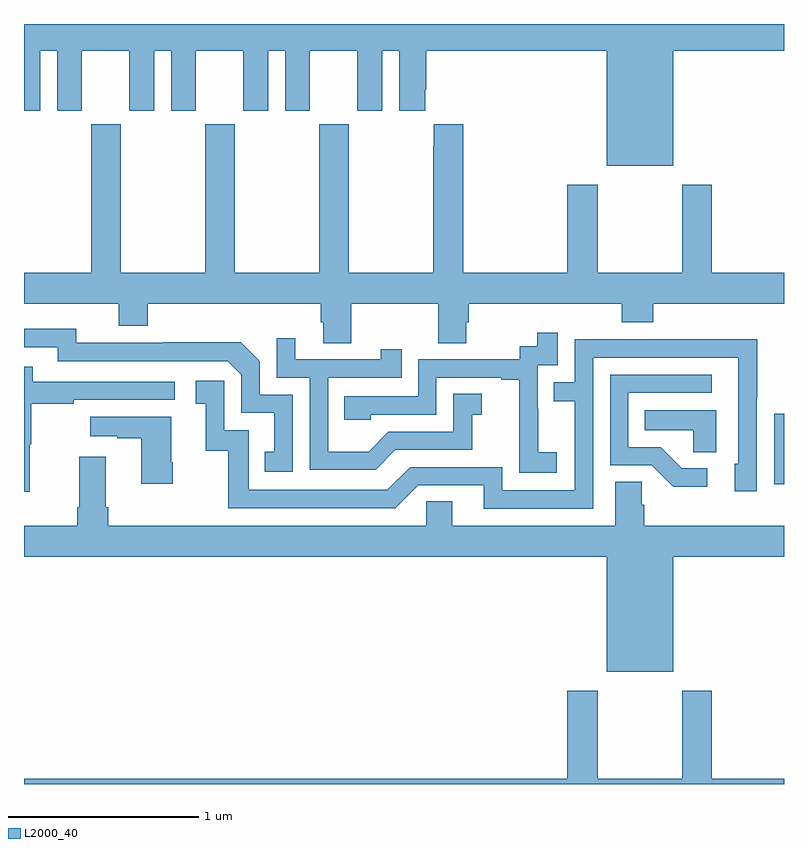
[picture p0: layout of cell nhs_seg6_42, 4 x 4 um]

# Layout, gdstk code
import gdstk
lib = gdstk.Library(unit=1e-6, precision=1e-09)
def R(c, l, rs):  # rectangles x0, y0, x1, y1
    for r in rs: c.add(gdstk.rectangle(r[:2], r[2:], *l))
def P(c, l, *ps):  # polygons
    for p in ps: c.add(gdstk.Polygon(p, *l))
L2000_40 = (2000, 40)

nhs_seg6_42 = lib.new_cell('nhs_seg6_42')
R(nhs_seg6_42, L2000_40, [(116.949,921.078,117,921.448)])
P(nhs_seg6_42, L2000_40, [(116.416,923.36),(117,923.36),(117,923.5),(113,923.5),(113,923.043),(113.086,923.043),(113.086,923.36),(113.174,923.36),(113.174,923.043),(113.305,923.043),(113.305,923.36),(113.555,923.36),(113.555,923.043),(113.686,923.043),(113.686,923.36),(113.774,923.36),(113.774,923.043),(113.905,923.043),(113.905,923.36),(114.155,923.36),(114.155,923.043),(114.286,923.043),(114.286,923.36),(114.374,923.36),(114.374,923.043),(114.505,923.043),(114.505,923.36),(114.755,923.36),(114.755,923.043),(114.886,923.043),(114.886,923.36),(114.974,923.36),(114.974,923.043),(115.111,923.043),(115.111,923.155),(115.118,923.155),(115.118,923.36),(116.066,923.36),(116.066,922.754),(116.416,922.754)],
  [(114.723,922.028),(115.18,922.028),(115.18,921.82),(115.327,921.82),(115.327,921.93),(115.34,921.93),(115.34,922.028),(116.147,922.028),(116.147,921.929),(116.312,921.929),(116.312,922.028),(117,922.028),(117,922.192),(116.619,922.192),(116.619,922.654),(116.464,922.654),(116.464,922.192),(116.019,922.192),(116.019,922.654),(115.859,922.654),(115.859,922.192),(115.313,922.192),(115.313,922.972),(115.157,922.972),(115.157,922.859),(115.153,922.859),(115.153,922.192),(114.708,922.192),(114.708,922.972),(114.553,922.972),(114.553,922.192),(114.108,922.192),(114.108,922.972),(113.953,922.972),(113.953,922.192),(113.508,922.192),(113.508,922.972),(113.353,922.972),(113.353,922.192),(113,922.192),(113,922.028),(113.498,922.028),(113.498,921.911),(113.651,921.911),(113.651,922.028),(114.563,922.028),(114.563,921.93),(114.575,921.93),(114.575,921.82),(114.723,921.82)],
  [(114.414,921.549),(114.24,921.549),(114.24,921.726),(114.142,921.824),(113.734,921.824),(113.734,921.822),(113.274,921.822),(113.274,921.895),(113,921.895),(113,921.798),(113.178,921.798),(113.178,921.726),(114.072,921.726),(114.144,921.654),(114.144,921.453),(114.317,921.453),(114.317,921.249),(114.268,921.249),(114.268,921.144),(114.414,921.144)],
  [(115.804,921.247),(115.706,921.247),(115.706,921.476),(115.704,921.476),(115.704,921.705),(115.809,921.705),(115.809,921.874),(115.701,921.874),(115.701,921.804),(115.608,921.804),(115.608,921.735),(115.074,921.735),(115.074,921.54),(114.685,921.54),(114.685,921.417),(114.825,921.417),(114.825,921.444),(115.17,921.444),(115.17,921.639),(115.511,921.639),(115.511,921.627),(115.607,921.627),(115.607,921.343),(115.606,921.343),(115.606,921.137),(115.804,921.137)],
  [(114.955,921.258),(115.359,921.258),(115.359,921.443),(115.408,921.443),(115.408,921.553),(115.26,921.553),(115.26,921.354),(114.918,921.354),(114.814,921.25),(114.6,921.25),(114.6,921.639),(114.989,921.639),(114.989,921.787),(114.878,921.787),(114.878,921.735),(114.427,921.735),(114.427,921.847),(114.33,921.847),(114.33,921.639),(114.504,921.639),(114.504,921.153),(114.85,921.153)],
  [(115.995,921.744),(116.76,921.744),(116.76,921.186),(116.741,921.186),(116.741,921.042),(116.856,921.042),(116.856,921.535),(116.859,921.535),(116.859,921.842),(116.395,921.842),(116.395,921.84),(115.899,921.84),(115.899,921.615),(115.789,921.615),(115.789,921.514),(115.899,921.514),(115.899,921.045),(115.518,921.045),(115.518,921.168),(115.032,921.168),(114.912,921.048),(114.183,921.048),(114.183,921.363),(114.054,921.363),(114.054,921.622),(113.904,921.622),(113.904,921.501),(113.957,921.501),(113.957,921.255),(114.075,921.255),(114.075,920.952),(114.954,920.952),(115.074,921.072),(115.421,921.072),(115.421,920.949),(115.995,920.949)],
  [(113.03,921.288),(113.038,921.288),(113.038,921.502),(113.261,921.502),(113.261,921.522),(113.794,921.522),(113.794,921.618),(113.045,921.618),(113.045,921.697),(113,921.697),(113,921.039),(113.03,921.039)],
  [(116.596,921.162),(116.461,921.162),(116.35,921.273),(116.181,921.273),(116.181,921.558),(116.62,921.558),(116.62,921.654),(116.085,921.654),(116.085,921.177),(116.304,921.177),(116.417,921.065),(116.596,921.065)],
  [(116.644,921.466),(116.266,921.466),(116.266,921.362),(116.523,921.362),(116.523,921.247),(116.644,921.247)],
  [(113.784,921.193),(113.776,921.193),(113.776,921.433),(113.349,921.433),(113.349,921.329),(113.492,921.329),(113.492,921.319),(113.618,921.319),(113.618,921.081),(113.784,921.081)],
  [(116.416,920.696),(117,920.696),(117,920.86),(116.264,920.86),(116.264,920.969),(116.25,920.969),(116.25,921.092),(116.111,921.092),(116.111,920.86),(115.255,920.86),(115.255,920.987),(115.116,920.987),(115.116,920.86),(113.444,920.86),(113.444,920.956),(113.431,920.956),(113.431,921.223),(113.291,921.223),(113.291,920.956),(113.279,920.956),(113.279,920.86),(113,920.86),(113,920.696),(116.066,920.696),(116.066,920.09),(116.416,920.09)],
  [(117,919.528),(116.619,919.528),(116.619,919.99),(116.464,919.99),(116.464,919.528),(116.019,919.528),(116.019,919.99),(115.859,919.99),(115.859,919.528),(113,919.528),(113,919.5),(117,919.5)])

lib.write_gds('nhs_seg6_42.gds')
